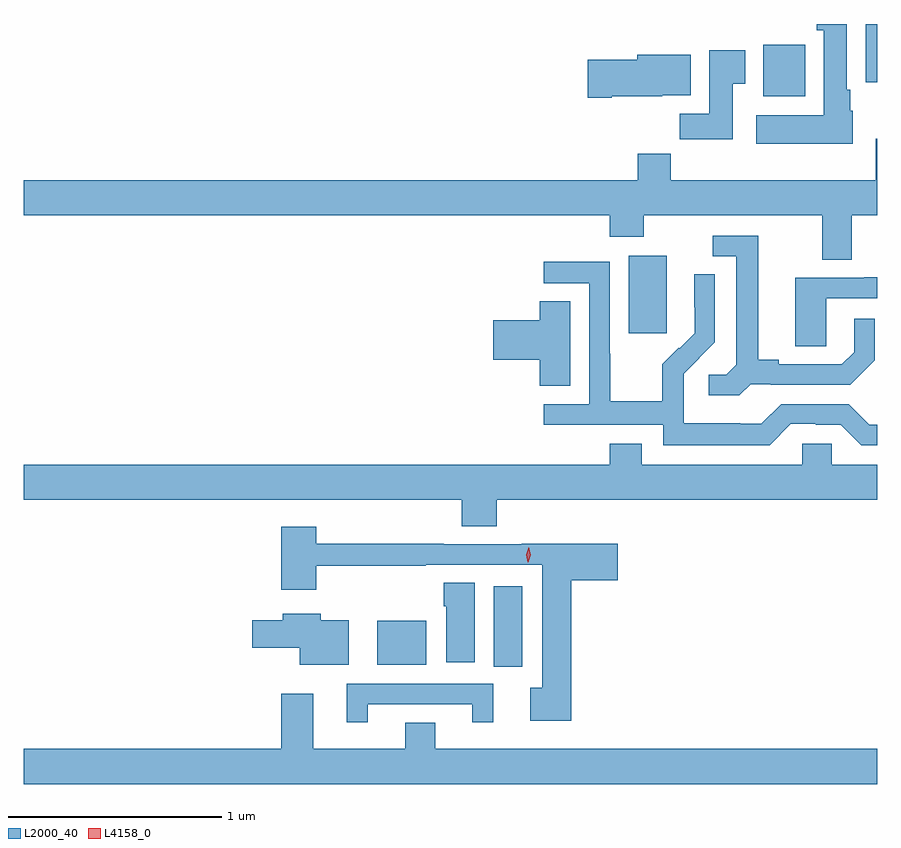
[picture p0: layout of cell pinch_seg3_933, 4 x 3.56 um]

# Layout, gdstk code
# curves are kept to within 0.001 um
import gdstk
lib = gdstk.Library(unit=1e-6, precision=1e-09)
def R(c, l, rs):  # rectangles x0, y0, x1, y1
    for r in rs: c.add(gdstk.rectangle(r[:2], r[2:], *l))
def P(c, l, *ps):  # polygons
    for p in ps: c.add(gdstk.Polygon(p, *l))
L2000_40 = (2000, 40)
L4158_0 = (4158, 0)

pinch_seg3_933 = lib.new_cell('pinch_seg3_933')
R(pinch_seg3_933, L2000_40, [(590.486,708.126,590.62,708.502), (589.94,708.134,590.17,708.34), (591.119,709.689,591.298,710.05), (591.749,710.798,591.946,711.04), (592.229,710.864,592.284,711.137)])
P(pinch_seg3_933, L2000_40, [(592.168,710.73),(592.156,710.73),(592.156,710.83),(592.141,710.83),(592.141,711.137),(592.001,711.137),(592.001,711.107),(592.034,711.107),(592.034,710.71),(591.717,710.71),(591.717,710.576),(592.168,710.576)],
  [(591.607,710.857),(591.664,710.857),(591.664,711.013),(591.497,711.013),(591.497,710.716),(591.358,710.716),(591.358,710.598),(591.607,710.598)],
  [(591.04,710.798),(591.276,710.798),(591.276,710.804),(591.409,710.804),(591.409,710.992),(591.158,710.992),(591.158,710.969),(590.928,710.969),(590.928,710.791),(591.04,710.791)],
  [(588.284,710.24),(591.029,710.24),(591.029,710.141),(591.189,710.141),(591.189,710.24),(592.025,710.24),(592.025,710.032),(592.165,710.032),(592.165,710.24),(592.284,710.24),(592.284,710.599),(592.277,710.599),(592.277,710.404),(591.317,710.404),(591.317,710.528),(591.161,710.528),(591.161,710.404),(588.284,710.404)],
  [(591.69,709.449),(591.784,709.449),(591.784,709.446),(592.156,709.446),(592.272,709.562),(592.272,709.756),(592.175,709.756),(592.175,709.599),(592.118,709.542),(591.823,709.542),(591.823,709.565),(591.727,709.565),(591.727,710.145),(591.513,710.145),(591.513,710.049),(591.623,710.049),(591.623,709.541),(591.576,709.494),(591.495,709.494),(591.495,709.397),(591.638,709.397)],
  [(591.879,709.263),(591.995,709.263),(591.995,709.26),(592.113,709.26),(592.209,709.164),(592.284,709.164),(592.284,709.26),(592.245,709.26),(592.149,709.356),(591.834,709.356),(591.741,709.263),(591.641,709.263),(591.641,709.267),(591.378,709.267),(591.378,709.401),(591.376,709.401),(591.376,709.498),(591.522,709.646),(591.522,709.964),(591.426,709.964),(591.426,709.81),(591.428,709.81),(591.428,709.688),(591.357,709.617),(591.354,709.62),(591.277,709.543),(591.277,709.369),(591.033,709.369),(591.033,709.592),(591.03,709.592),(591.03,710.022),(590.721,710.022),(590.721,709.923),(590.934,709.923),(590.934,709.356),(590.721,709.356),(590.721,709.26),(591.282,709.26),(591.282,709.163),(591.779,709.163)],
  [(592.044,709.851),(592.284,709.851),(592.284,709.951),(592.223,709.951),(592.223,709.947),(591.899,709.947),(591.899,709.627),(592.044,709.627)],
  [(590.845,709.838),(590.702,709.838),(590.702,709.748),(590.484,709.748),(590.484,709.565),(590.702,709.565),(590.702,709.441),(590.845,709.441)],
  [(590.501,708.908),(592.284,708.908),(592.284,709.072),(592.071,709.072),(592.071,709.17),(591.933,709.17),(591.933,709.072),(591.181,709.072),(591.181,709.171),(591.029,709.171),(591.029,709.072),(588.284,709.072),(588.284,708.908),(590.336,708.908),(590.336,708.784),(590.501,708.784)],
  [(590.849,708.53),(591.067,708.53),(591.067,708.701),(590.618,708.701),(590.618,708.699),(590.252,708.699),(590.252,708.701),(589.655,708.701),(589.655,708.781),(589.49,708.781),(589.49,708.486),(589.655,708.486),(589.655,708.598),(590.168,708.598),(590.168,708.603),(590.714,708.603),(590.714,708.026),(590.658,708.026),(590.658,707.873),(590.849,707.873)],
  [(590.398,708.518),(590.252,708.518),(590.252,708.41),(590.264,708.41),(590.264,708.147),(590.398,708.147)],
  [(589.807,708.343),(589.675,708.343),(589.675,708.373),(589.499,708.373),(589.499,708.343),(589.356,708.343),(589.356,708.214),(589.577,708.214),(589.577,708.134),(589.807,708.134)],
  [(589.897,707.949),(590.387,707.949),(590.387,707.865),(590.485,707.865),(590.485,708.045),(589.799,708.045),(589.799,707.865),(589.897,707.865)],
  [(592.284,707.74),(590.212,707.74),(590.212,707.864),(590.072,707.864),(590.072,707.74),(589.642,707.74),(589.642,707.998),(589.49,707.998),(589.49,707.74),(588.284,707.74),(588.284,707.576),(592.284,707.576)])
P(pinch_seg3_933, L4158_0, [(590.647,708.614),(590.647,708.614),(590.639,708.65),(590.65,708.686),(590.65,708.686),(590.65,708.686),(590.659,708.65),(590.648,708.614)])

lib.write_gds('pinch_seg3_933.gds')
